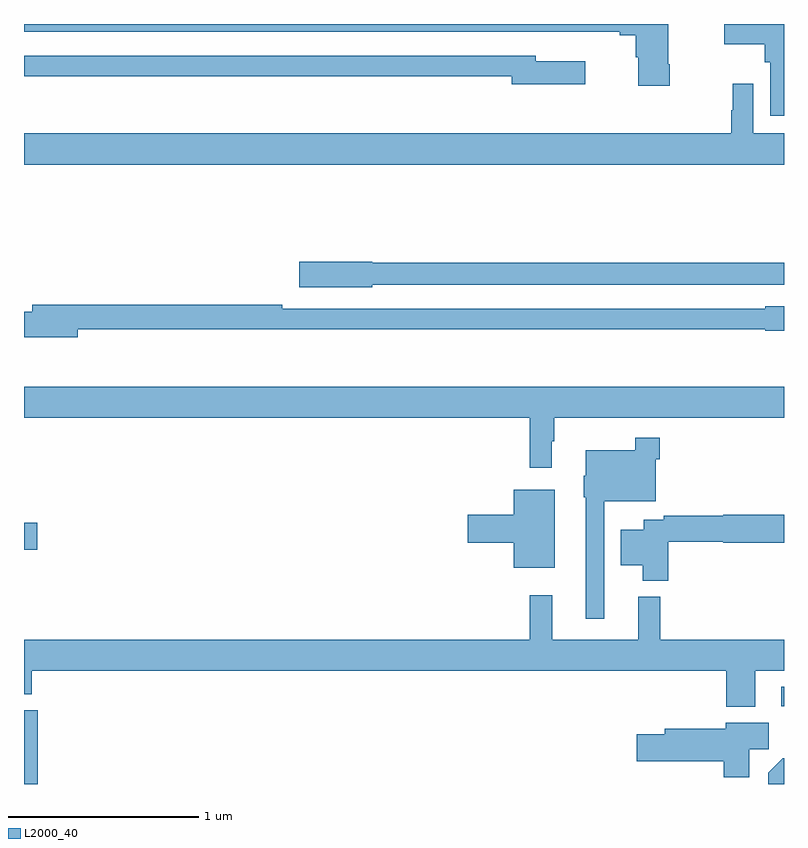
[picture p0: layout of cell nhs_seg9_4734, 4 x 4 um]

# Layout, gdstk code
import gdstk
lib = gdstk.Library(unit=1e-6, precision=1e-09)
def R(c, l, rs):  # rectangles x0, y0, x1, y1
    for r in rs: c.add(gdstk.rectangle(r[:2], r[2:], *l))
def P(c, l, *ps):  # polygons
    for p in ps: c.add(gdstk.Polygon(p, *l))
L2000_40 = (2000, 40)

nhs_seg9_4734 = lib.new_cell('nhs_seg9_4734')
R(nhs_seg9_4734, L2000_40, [(385,1186.5,385.073,1186.887), (388.985,1186.908,389,1187.011), (385,1187.734,385.069,1187.876)])
P(nhs_seg9_4734, L2000_40, [(389,1190.5),(388.686,1190.5),(388.686,1190.393),(388.898,1190.393),(388.898,1190.298),(388.928,1190.298),(388.928,1190.018),(389,1190.018)],
  [(388.398,1190.287),(388.39,1190.287),(388.39,1190.5),(385,1190.5),(385,1190.46),(387.79,1190.46),(387.79,1190.459),(388.136,1190.459),(388.136,1190.44),(388.22,1190.44),(388.22,1190.325),(388.232,1190.325),(388.232,1190.175),(388.398,1190.175)],
  [(387.955,1190.305),(387.694,1190.305),(387.694,1190.334),(385,1190.334),(385,1190.226),(387.566,1190.226),(387.566,1190.183),(387.955,1190.183)],
  [(389,1189.924),(388.839,1189.924),(388.839,1190.185),(388.731,1190.185),(388.731,1190.046),(388.723,1190.046),(388.723,1189.924),(385,1189.924),(385,1189.76),(389,1189.76)],
  [(386.832,1189.128),(389,1189.128),(389,1189.244),(386.832,1189.244),(386.832,1189.25),(386.448,1189.25),(386.448,1189.115),(386.832,1189.115)],
  [(385.282,1188.894),(388.902,1188.894),(388.902,1188.886),(389,1188.886),(389,1189.015),(388.902,1189.015),(388.902,1189.002),(386.36,1189.002),(386.36,1189.022),(385.043,1189.022),(385.043,1188.986),(385,1188.986),(385,1188.851),(385.282,1188.851)],
  [(387.778,1188.305),(387.79,1188.305),(387.79,1188.428),(389,1188.428),(389,1188.592),(385,1188.592),(385,1188.428),(387.661,1188.428),(387.661,1188.165),(387.778,1188.165)],
  [(388.053,1187.987),(388.326,1187.987),(388.326,1188.209),(388.346,1188.209),(388.346,1188.322),(388.218,1188.322),(388.218,1188.256),(387.956,1188.256),(387.956,1188.123),(387.947,1188.123),(387.947,1188.009),(387.956,1188.009),(387.956,1187.37),(388.053,1187.37)],
  [(387.793,1188.049),(387.578,1188.049),(387.578,1187.918),(387.336,1187.918),(387.336,1187.771),(387.578,1187.771),(387.578,1187.639),(387.793,1187.639)],
  [(388.391,1187.776),(388.68,1187.776),(388.68,1187.771),(389,1187.771),(389,1187.918),(388.68,1187.918),(388.68,1187.912),(388.366,1187.912),(388.366,1187.892),(388.262,1187.892),(388.262,1187.839),(388.142,1187.839),(388.142,1187.651),(388.256,1187.651),(388.256,1187.57),(388.391,1187.57)],
  [(388.849,1187.096),(389,1187.096),(389,1187.26),(388.349,1187.26),(388.349,1187.485),(388.232,1187.485),(388.232,1187.26),(387.779,1187.26),(387.779,1187.494),(387.661,1187.494),(387.661,1187.26),(385,1187.26),(385,1186.972),(385.04,1186.972),(385.04,1187.096),(388.697,1187.096),(388.697,1186.907),(388.849,1186.907)],
  [(388.816,1186.684),(388.921,1186.684),(388.921,1186.822),(388.694,1186.822),(388.694,1186.791),(388.373,1186.791),(388.373,1186.761),(388.224,1186.761),(388.224,1186.619),(388.682,1186.619),(388.682,1186.536),(388.816,1186.536)],
  [(389,1186.636),(388.994,1186.636),(388.916,1186.558),(388.916,1186.5),(389,1186.5)])

lib.write_gds('nhs_seg9_4734.gds')
